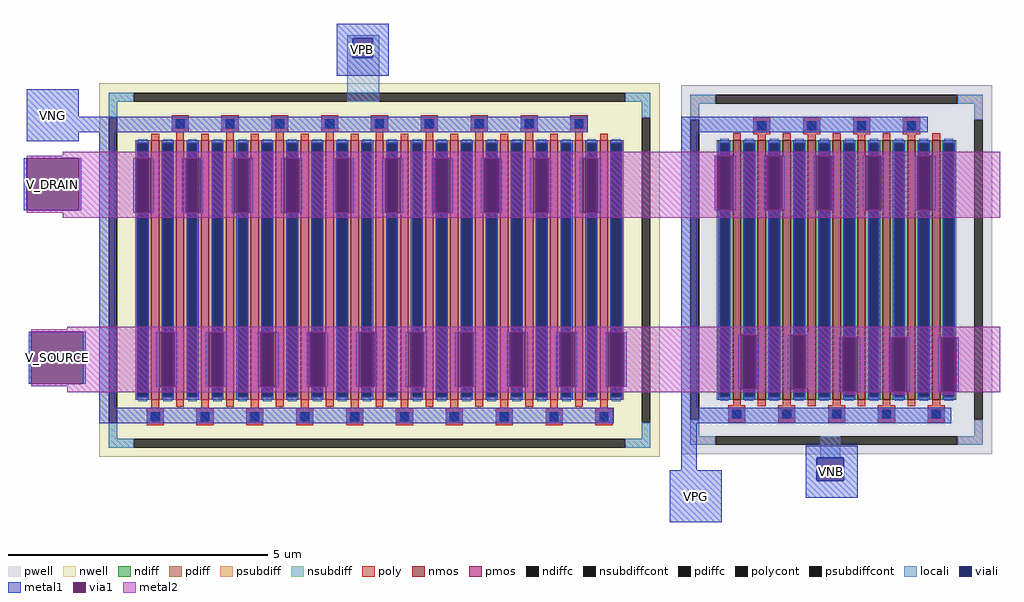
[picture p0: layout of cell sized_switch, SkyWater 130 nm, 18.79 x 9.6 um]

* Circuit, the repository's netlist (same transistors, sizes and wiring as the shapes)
* NGSPICE file created from sized_switch.ext - technology: sky130A

.subckt sky130_fd_pr__pfet_01v8_BDZ9JN a_15_n500# a_n177_n500# a_n561_n500# a_879_n500#
+ a_111_n500# a_n129_n597# a_n513_n597# a_n609_531# a_63_n597# a_n273_n500# a_n801_531#
+ a_687_n500# a_n321_n597# a_159_531# a_639_n597# a_n941_n500# a_783_n500# a_399_n500#
+ a_n81_n500# a_n849_n500# a_351_531# a_n33_531# a_495_n500# a_n897_n597# a_831_n597#
+ a_447_n597# a_n225_531# a_591_n500# a_n657_n500# a_207_n500# a_543_531# a_n753_n500#
+ a_n369_n500# a_303_n500# a_255_n597# a_n705_n597# a_n417_531# w_n1079_n719# a_n465_n500#
+ a_735_531#
X0 a_15_n500# a_n33_531# a_n81_n500# w_n1079_n719# sky130_fd_pr__pfet_01v8 ad=0.825 pd=5.33 as=0.825 ps=5.33 w=5 l=0.15
X1 a_n369_n500# a_n417_531# a_n465_n500# w_n1079_n719# sky130_fd_pr__pfet_01v8 ad=0.825 pd=5.33 as=0.825 ps=5.33 w=5 l=0.15
X2 a_n657_n500# a_n705_n597# a_n753_n500# w_n1079_n719# sky130_fd_pr__pfet_01v8 ad=0.825 pd=5.33 as=0.825 ps=5.33 w=5 l=0.15
X3 a_879_n500# a_831_n597# a_783_n500# w_n1079_n719# sky130_fd_pr__pfet_01v8 ad=1.55 pd=10.62 as=0.825 ps=5.33 w=5 l=0.15
X4 a_303_n500# a_255_n597# a_207_n500# w_n1079_n719# sky130_fd_pr__pfet_01v8 ad=0.825 pd=5.33 as=0.825 ps=5.33 w=5 l=0.15
X5 a_n273_n500# a_n321_n597# a_n369_n500# w_n1079_n719# sky130_fd_pr__pfet_01v8 ad=0.825 pd=5.33 as=0.825 ps=5.33 w=5 l=0.15
X6 a_591_n500# a_543_531# a_495_n500# w_n1079_n719# sky130_fd_pr__pfet_01v8 ad=0.825 pd=5.33 as=0.825 ps=5.33 w=5 l=0.15
X7 a_n849_n500# a_n897_n597# a_n941_n500# w_n1079_n719# sky130_fd_pr__pfet_01v8 ad=0.825 pd=5.33 as=1.55 ps=10.62 w=5 l=0.15
X8 a_207_n500# a_159_531# a_111_n500# w_n1079_n719# sky130_fd_pr__pfet_01v8 ad=0.825 pd=5.33 as=0.825 ps=5.33 w=5 l=0.15
X9 a_n177_n500# a_n225_531# a_n273_n500# w_n1079_n719# sky130_fd_pr__pfet_01v8 ad=0.825 pd=5.33 as=0.825 ps=5.33 w=5 l=0.15
X10 a_495_n500# a_447_n597# a_399_n500# w_n1079_n719# sky130_fd_pr__pfet_01v8 ad=0.825 pd=5.33 as=0.825 ps=5.33 w=5 l=0.15
X11 a_n561_n500# a_n609_531# a_n657_n500# w_n1079_n719# sky130_fd_pr__pfet_01v8 ad=0.825 pd=5.33 as=0.825 ps=5.33 w=5 l=0.15
X12 a_111_n500# a_63_n597# a_15_n500# w_n1079_n719# sky130_fd_pr__pfet_01v8 ad=0.825 pd=5.33 as=0.825 ps=5.33 w=5 l=0.15
X13 a_783_n500# a_735_531# a_687_n500# w_n1079_n719# sky130_fd_pr__pfet_01v8 ad=0.825 pd=5.33 as=0.825 ps=5.33 w=5 l=0.15
X14 a_399_n500# a_351_531# a_303_n500# w_n1079_n719# sky130_fd_pr__pfet_01v8 ad=0.825 pd=5.33 as=0.825 ps=5.33 w=5 l=0.15
X15 a_n465_n500# a_n513_n597# a_n561_n500# w_n1079_n719# sky130_fd_pr__pfet_01v8 ad=0.825 pd=5.33 as=0.825 ps=5.33 w=5 l=0.15
X16 a_687_n500# a_639_n597# a_591_n500# w_n1079_n719# sky130_fd_pr__pfet_01v8 ad=0.825 pd=5.33 as=0.825 ps=5.33 w=5 l=0.15
X17 a_n753_n500# a_n801_531# a_n849_n500# w_n1079_n719# sky130_fd_pr__pfet_01v8 ad=0.825 pd=5.33 as=0.825 ps=5.33 w=5 l=0.15
X18 a_n81_n500# a_n129_n597# a_n177_n500# w_n1079_n719# sky130_fd_pr__pfet_01v8 ad=0.825 pd=5.33 as=0.825 ps=5.33 w=5 l=0.15
.ends

.subckt sky130_fd_pr__nfet_01v8_KBNS5F a_15_n500# a_n177_n500# a_111_n500# a_n273_n500#
+ a_159_n588# a_63_522# a_255_522# a_399_n500# a_n81_n500# a_351_n588# a_n417_n588#
+ a_n129_522# a_n225_n588# a_n321_522# a_n563_n674# a_207_n500# a_n461_n500# a_n369_n500#
+ a_303_n500# a_n33_n588#
X0 a_n81_n500# a_n129_522# a_n177_n500# a_n563_n674# sky130_fd_pr__nfet_01v8 ad=0.825 pd=5.33 as=0.825 ps=5.33 w=5 l=0.15
X1 a_15_n500# a_n33_n588# a_n81_n500# a_n563_n674# sky130_fd_pr__nfet_01v8 ad=0.825 pd=5.33 as=0.825 ps=5.33 w=5 l=0.15
X2 a_n369_n500# a_n417_n588# a_n461_n500# a_n563_n674# sky130_fd_pr__nfet_01v8 ad=0.825 pd=5.33 as=1.55 ps=10.62 w=5 l=0.15
X3 a_n273_n500# a_n321_522# a_n369_n500# a_n563_n674# sky130_fd_pr__nfet_01v8 ad=0.825 pd=5.33 as=0.825 ps=5.33 w=5 l=0.15
X4 a_303_n500# a_255_522# a_207_n500# a_n563_n674# sky130_fd_pr__nfet_01v8 ad=0.825 pd=5.33 as=0.825 ps=5.33 w=5 l=0.15
X5 a_n177_n500# a_n225_n588# a_n273_n500# a_n563_n674# sky130_fd_pr__nfet_01v8 ad=0.825 pd=5.33 as=0.825 ps=5.33 w=5 l=0.15
X6 a_207_n500# a_159_n588# a_111_n500# a_n563_n674# sky130_fd_pr__nfet_01v8 ad=0.825 pd=5.33 as=0.825 ps=5.33 w=5 l=0.15
X7 a_111_n500# a_63_522# a_15_n500# a_n563_n674# sky130_fd_pr__nfet_01v8 ad=0.825 pd=5.33 as=0.825 ps=5.33 w=5 l=0.15
X8 a_399_n500# a_351_n588# a_303_n500# a_n563_n674# sky130_fd_pr__nfet_01v8 ad=1.55 pd=10.62 as=0.825 ps=5.33 w=5 l=0.15
.ends

.subckt sized_switch VPG VNG V_DRAIN V_SOURCE VPB VNB
XXM1 V_DRAIN V_DRAIN V_DRAIN V_SOURCE V_SOURCE VNG VNG VNG VNG V_SOURCE VNG V_SOURCE
+ VNG VNG VNG V_DRAIN V_DRAIN V_DRAIN V_SOURCE V_SOURCE VNG VNG V_SOURCE VNG VNG VNG
+ VNG V_DRAIN V_SOURCE V_DRAIN VNG V_DRAIN V_DRAIN V_SOURCE VNG VNG VNG VPB V_SOURCE
+ VNG sky130_fd_pr__pfet_01v8_BDZ9JN
Xsky130_fd_pr__nfet_01v8_KBNS5F_0 V_SOURCE V_SOURCE V_DRAIN V_DRAIN VPG VPG VPG V_SOURCE
+ V_DRAIN VPG VPG VPG VPG VPG VNB V_SOURCE V_DRAIN V_SOURCE V_DRAIN VPG sky130_fd_pr__nfet_01v8_KBNS5F
.ends

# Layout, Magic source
magic
tech sky130A
magscale 1 2
<< locali >>
rect 1924 622 2048 634
rect 1924 546 1946 622
rect 2022 546 2048 622
rect 1924 378 2048 546
rect 3746 -994 3822 -910
<< viali >>
rect 1946 546 2022 622
rect 3732 -1082 3836 -994
<< metal1 >>
rect 1884 622 2084 678
rect 1884 546 1946 622
rect 2022 546 2084 622
rect 1884 478 2084 546
rect 690 320 890 426
rect 690 260 2850 320
rect 3210 260 4160 320
rect 690 226 890 260
rect 680 -40 690 160
rect 890 -40 900 160
rect 698 -708 708 -508
rect 908 -708 918 -508
rect 970 -800 1030 260
rect 1100 -50 1110 160
rect 1170 -50 1180 160
rect 1290 -50 1300 160
rect 1360 -50 1370 160
rect 1480 -50 1490 160
rect 1550 -50 1560 160
rect 1670 -50 1680 160
rect 1740 -50 1750 160
rect 1870 -50 1880 160
rect 1940 -50 1950 160
rect 2060 -50 2070 160
rect 2130 -50 2140 160
rect 2250 -50 2260 160
rect 2320 -50 2330 160
rect 2440 -50 2450 160
rect 2510 -50 2520 160
rect 2630 -50 2640 160
rect 2700 -50 2710 160
rect 2820 -50 2830 160
rect 2890 -50 2900 160
rect 1190 -720 1200 -510
rect 1260 -720 1270 -510
rect 1380 -720 1390 -510
rect 1450 -720 1460 -510
rect 1580 -720 1590 -510
rect 1650 -720 1660 -510
rect 1770 -720 1780 -510
rect 1840 -720 1850 -510
rect 1960 -720 1970 -510
rect 2030 -720 2040 -510
rect 2150 -720 2160 -510
rect 2220 -720 2230 -510
rect 2340 -720 2350 -510
rect 2410 -720 2420 -510
rect 2540 -720 2550 -510
rect 2610 -720 2620 -510
rect 2730 -720 2740 -510
rect 2800 -720 2810 -510
rect 2920 -720 2930 -510
rect 2990 -720 3000 -510
rect 3210 -800 3270 260
rect 3340 -40 3350 170
rect 3410 -40 3420 170
rect 3530 -40 3540 170
rect 3600 -40 3610 170
rect 3720 -40 3730 170
rect 3790 -40 3800 170
rect 3910 -40 3920 170
rect 3980 -40 3990 170
rect 4110 -40 4120 170
rect 4180 -40 4190 170
rect 3430 -730 3440 -520
rect 3500 -730 3510 -520
rect 3620 -730 3630 -520
rect 3690 -730 3700 -520
rect 3820 -740 3830 -530
rect 3890 -740 3900 -530
rect 4010 -740 4020 -530
rect 4080 -740 4090 -530
rect 4200 -740 4210 -530
rect 4270 -740 4280 -530
rect 970 -860 2950 -800
rect 3210 -860 4250 -800
rect 3210 -1042 3270 -860
rect 3690 -994 3890 -948
rect 3166 -1242 3366 -1042
rect 3690 -1082 3732 -994
rect 3836 -1082 3890 -994
rect 3690 -1148 3890 -1082
<< via1 >>
rect 690 -40 890 160
rect 708 -708 908 -508
rect 1110 -50 1170 160
rect 1300 -50 1360 160
rect 1490 -50 1550 160
rect 1680 -50 1740 160
rect 1880 -50 1940 160
rect 2070 -50 2130 160
rect 2260 -50 2320 160
rect 2450 -50 2510 160
rect 2640 -50 2700 160
rect 2830 -50 2890 160
rect 1200 -720 1260 -510
rect 1390 -720 1450 -510
rect 1590 -720 1650 -510
rect 1780 -720 1840 -510
rect 1970 -720 2030 -510
rect 2160 -720 2220 -510
rect 2350 -720 2410 -510
rect 2550 -720 2610 -510
rect 2740 -720 2800 -510
rect 2930 -720 2990 -510
rect 3350 -40 3410 170
rect 3540 -40 3600 170
rect 3730 -40 3790 170
rect 3920 -40 3980 170
rect 4120 -40 4180 170
rect 3440 -730 3500 -520
rect 3630 -730 3690 -520
rect 3830 -740 3890 -530
rect 4020 -740 4080 -530
rect 4210 -740 4270 -530
<< metal2 >>
rect 829 170 4438 184
rect 690 160 3350 170
rect 890 -40 1110 160
rect 690 -50 1110 -40
rect 1170 -50 1300 160
rect 1360 -50 1490 160
rect 1550 -50 1680 160
rect 1740 -50 1880 160
rect 1940 -50 2070 160
rect 2130 -50 2260 160
rect 2320 -50 2450 160
rect 2510 -50 2640 160
rect 2700 -50 2830 160
rect 2890 -40 3350 160
rect 3410 -40 3540 170
rect 3600 -40 3730 170
rect 3790 -40 3920 170
rect 3980 -40 4120 170
rect 4180 -40 4438 170
rect 2890 -50 4438 -40
rect 829 -70 4438 -50
rect 847 -498 4438 -488
rect 708 -508 4438 -498
rect 908 -510 4438 -508
rect 908 -708 1200 -510
rect 708 -718 1200 -708
rect 847 -720 1200 -718
rect 1260 -720 1390 -510
rect 1450 -720 1590 -510
rect 1650 -720 1780 -510
rect 1840 -720 1970 -510
rect 2030 -720 2160 -510
rect 2220 -720 2350 -510
rect 2410 -720 2550 -510
rect 2610 -720 2740 -510
rect 2800 -720 2930 -510
rect 2990 -520 4438 -510
rect 2990 -720 3440 -520
rect 847 -730 3440 -720
rect 3500 -730 3630 -520
rect 3690 -530 4438 -520
rect 3690 -730 3830 -530
rect 847 -740 3830 -730
rect 3890 -740 4020 -530
rect 4080 -740 4210 -530
rect 4270 -740 4438 -530
rect 847 -742 4438 -740
rect 3830 -750 3890 -742
rect 4020 -750 4080 -742
rect 4210 -750 4270 -742
use sky130_fd_pr__pfet_01v8_BDZ9JN  XM1
transform 1 0 2049 0 1 -271
box -1079 -719 1079 719
use sky130_fd_pr__nfet_01v8_KBNS5F  sky130_fd_pr__nfet_01v8_KBNS5F_0
transform 1 0 3809 0 1 -270
box -599 -710 599 710
<< labels >>
flabel via1 708 -708 908 -508 0 FreeSans 256 0 0 0 V_SOURCE
port 3 nsew
flabel via1 690 -40 890 160 0 FreeSans 256 0 0 0 V_DRAIN
port 2 nsew
flabel metal1 690 226 890 426 0 FreeSans 256 0 0 0 VNG
port 1 nsew
flabel metal1 3166 -1242 3366 -1042 0 FreeSans 256 0 0 0 VPG
port 0 nsew
flabel metal1 1884 478 2084 678 0 FreeSans 256 0 0 0 VPB
port 4 nsew
flabel metal1 3690 -1148 3890 -948 0 FreeSans 256 0 0 0 VNB
port 5 nsew
<< end >>

# cell sky130_fd_pr__pfet_01v8_BDZ9JN: kit device sky130_fd_pr__pfet_01v8, w 5.0 l 0.15 m 1 nf 19 diffcov 100 polycov 100 guard 1 glc 1 grc 1 gtc 1 gbc 1 tbcov 100 rlcov 100 topc 1 botc 1 poverlap 0 doverlap 1 lmin 0.15 wmin 0.42 compatible {sky130_fd_pr__pfet_01v8 sky130_fd_pr__pfet_01v8_lvt sky130_fd_pr__pfet_01v8_hvt sky130_fd_pr__pfet_g5v0d10v5} full_metal 1 viasrc 100 viadrn 100 viagate 100 viagb 0 viagr 0 viagl 0 viagt 0

# cell sky130_fd_pr__nfet_01v8_KBNS5F: kit device sky130_fd_pr__nfet_01v8, w 5.0 l 0.15 m 1 nf 9 diffcov 100 polycov 100 guard 1 glc 1 grc 1 gtc 1 gbc 1 tbcov 100 rlcov 100 topc 1 botc 1 poverlap 0 doverlap 1 lmin 0.15 wmin 0.42 compatible {sky130_fd_pr__nfet_01v8 sky130_fd_pr__nfet_01v8_lvt sky130_fd_bs_flash__special_sonosfet_star sky130_fd_pr__nfet_g5v0d10v5 sky130_fd_pr__nfet_05v0_nvt sky130_fd_pr__nfet_03v3_nvt} full_metal 1 viasrc 100 viadrn 100 viagate 100 viagb 0 viagr 0 viagl 0 viagt 0
